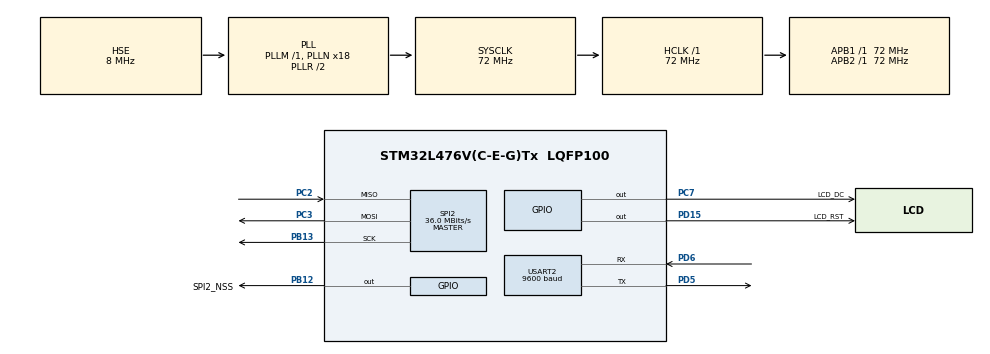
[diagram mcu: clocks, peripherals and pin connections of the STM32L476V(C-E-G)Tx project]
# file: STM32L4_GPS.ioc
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Mcu.Family=STM32L4
Mcu.Name=STM32L476V(C-E-G)Tx
Mcu.Package=LQFP100
NVIC.PriorityGroup=NVIC_PRIORITYGROUP_4
NVIC.USART2_IRQn=true\:0\:0\:false\:false\:true\:true\:true\:true
PB12.GPIO_Label=SPI2_NSS
PB12.GPIO_Speed=GPIO_SPEED_FREQ_VERY_HIGH
PB12.Signal=GPIO_Output
PB13.Mode=Full_Duplex_Master
PB13.Signal=SPI2_SCK
PC2.Mode=Full_Duplex_Master
PC2.Signal=SPI2_MISO
PC3.Mode=Full_Duplex_Master
PC3.Signal=SPI2_MOSI
PC7.GPIO_Label=LCD_DC
PC7.GPIO_Speed=GPIO_SPEED_FREQ_VERY_HIGH
PC7.Signal=GPIO_Output
PD15.GPIO_Label=LCD_RST
PD15.GPIO_Speed=GPIO_SPEED_FREQ_VERY_HIGH
PD15.Signal=GPIO_Output
PD5.Mode=Asynchronous
PD5.Signal=USART2_TX
PD6.Mode=Asynchronous
PD6.Signal=USART2_RX
PH0-OSC_IN\ (PH0).Mode=HSE-External-Oscillator
PH0-OSC_IN\ (PH0).Signal=RCC_OSC_IN
PH1-OSC_OUT\ (PH1).Mode=HSE-External-Oscillator
PH1-OSC_OUT\ (PH1).Signal=RCC_OSC_OUT
ProjectManager.HeapSize=0x200
ProjectManager.StackSize=0x400
ProjectManager.TargetToolchain=STM32CubeIDE
RCC.ADCFreq_Value=32000000
RCC.AHBFreq_Value=72000000
RCC.APB1Freq_Value=72000000
RCC.APB1TimFreq_Value=72000000
RCC.APB2Freq_Value=72000000
RCC.APB2TimFreq_Value=72000000
RCC.CortexFreq_Value=72000000
RCC.HCLKFreq_Value=72000000
RCC.HSE_VALUE=8000000
RCC.HSI_VALUE=16000000
RCC.LSE_VALUE=32768
RCC.MSI_VALUE=4000000
RCC.PLLN=18
RCC.PLLSourceVirtual=RCC_PLLSOURCE_HSE
RCC.SYSCLKFreq_VALUE=72000000
RCC.SYSCLKSource=RCC_SYSCLKSOURCE_PLLCLK
RCC.USBFreq_Value=32000000
RCC.VCOOutputFreq_Value=144000000
SPI2.BaudRatePrescaler=SPI_BAUDRATEPRESCALER_2
SPI2.CalculateBaudRate=36.0 MBits/s
SPI2.DataSize=SPI_DATASIZE_8BIT
SPI2.Direction=SPI_DIRECTION_2LINES
SPI2.Mode=SPI_MODE_MASTER
SPI2.NSSPMode=SPI_NSS_PULSE_DISABLE
SPI2.VirtualType=VM_MASTER
USART2.BaudRate=9600
USART2.Mode=MODE_TX_RX
USART2.VirtualMode-Asynchronous=VM_ASYNC
board=custom

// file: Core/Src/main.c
/* @file  main.c
   @brief main source file for STM32L4 integration with UBLox-Neo 6M GPS
          (ST25 Board TFT Display support included)
   @author Shyam Jha (Avinashee Tech)
*/
#include "main.h"

/* USER CODE BEGIN Includes */
#include <stdio.h>
#include "ringbuffer.h"
#include "gps.h"
#include "st25_discovery_lcd.h"
#include "avinasheetech_logo_jpg.h"
#include "gps_navigation_jpg.h"
#include "ili9341_cube.h"
#include "5x5_font.h"
/* USER CODE END Includes */

/* USER CODE BEGIN PM */

//TFT screen attributes
#define LCD_HEIGHT_Pixels 240
#define LCD_WIDTH_Pixels  320
#define DC_PORT								GPIOC
#define DC_PIN								GPIO_PIN_7
#define BURST_MAX_SIZE                      500

/* USER CODE END PM */

SPI_HandleTypeDef hspi2;

UART_HandleTypeDef huart2;

void SystemClock_Config(void);
static void MX_GPIO_Init(void);
static void MX_SPI2_Init(void);
static void MX_USART2_UART_Init(void);

/* USER CODE BEGIN 0 */

char GGA_Dataset[100];      //buffer to save GGA sentence data
char GSV_Dataset[100];      //buffer to save GSV sentence data
char lcd_gps_buffer1[30];
char lcd_gps_buffer2[30];
char lcd_gps_buffer3[30];
char lcd_gps_buffer4[30];
char lcd_gps_buffer5[30];

gps_t ublox_gps;            //main GPS data structure
uint8_t gps_fix_valid = 0;
uint8_t tot_sats_valid = 0;

unsigned char c;
void Uart_isr (UART_HandleTypeDef *huart);

/**
 * @brief  draw image function
 * @param  image_array image pixel wise RGB code
 * @param  orientation image rotation
 * @retval None
 */
void DrawImage(const uint8_t *image_array,uint8_t orientation){
	uint64_t k = 0;
   //Display Logo image
   for(uint32_t i = 0; i < 240; i++)                 //height
   {
	   for(uint32_t j = 320; j > 0; j--)             //width
	   {
		   BSP_LCD_DrawPixel(i, j, (image_array[k]<<8)|(image_array[k+1]),orientation);
		   k+=2;
	   }
   }
}

/* USER CODE END 0 */

int main(void)
{

  /* MCU Configuration--------------------------------------------------------*/

  /* Reset of all peripherals, Initializes the Flash interface and the Systick. */
  HAL_Init();

  /* Configure the system clock */
  SystemClock_Config();

  /* USER CODE BEGIN SysInit */

  /*Initialize LCD and clear with White Background*/
  BSP_LCD_Init( );
  BSP_LCD_SetFont( &Font22 );
  BSP_LCD_SetBackColor(LCD_COLOR_WHITE);
  BSP_LCD_SetTextColor(LCD_COLOR_RED);
  BSP_LCD_Clear(LCD_COLOR_WHITE);

  /*Text and Image Introduction*/
  BSP_LCD_DisplayPicture(0,0,namaste);   //namaste intro image
  HAL_Delay(2000);                       //some delay
  BSP_LCD_Clear(LCD_COLOR_WHITE);
  BSP_LCD_DisplayStringAtLine(4, (uint8_t*) "  Welcome back to  ");  //text display
  HAL_Delay(2000);                                                   //some delay
  BSP_LCD_DisplayPicture(0,0,avinashee_logo);  //channel logo image
  HAL_Delay(2000);                             //some delay
  BSP_LCD_Clear(LCD_COLOR_WHITE);
  BSP_LCD_DisplayStringAtLine(4, (uint8_t*) " Let's go watch our");
  BSP_LCD_DisplayStringAtLine(5, (uint8_t*) "      GNSS data     ");
  HAL_Delay(2000);
  BSP_LCD_DisplayPicture(0,0,gps_nav_frame1);  //gps satellite image frame 1
  HAL_Delay(4);                                //some delay
  BSP_LCD_DisplayPicture(0,0,gps_nav_frame2);  //gps satellite image frame 2
  HAL_Delay(1);                                //some delay
  BSP_LCD_DisplayPicture(0,0,gps_nav_frame3);  //gps satellite image frame 3
  HAL_Delay(1);                                //some delay
  BSP_LCD_Clear(LCD_COLOR_WHITE);

  /* USER CODE END SysInit */

  /* Initialize all configured peripherals */
  MX_GPIO_Init();
  MX_SPI2_Init();
  MX_USART2_UART_Init();
  /* USER CODE BEGIN 2 */

  /*initialize gps serial buffer*/
  buffer_init();

  /*enable the UART in Interrupt mode*/
  HAL_UART_Receive_IT(&huart2, &c, 1);
  HAL_Delay(1000);

  /* USER CODE END 2 */

  /* Infinite loop */
  while (1)
  {

    /* USER CODE BEGIN 3 */

	  //GGA message search
	  if(find_dataset(GGA)==1){
		  memset(GGA_Dataset,0,sizeof(GGA_Dataset));
		  save_dataset(GGA_Dataset);
		  gps_fix_valid = decode_ggadataset(GGA_Dataset, &ublox_gps);
	  }

	  ublox_gps.gsv.current_dataset = 0;
	  ublox_gps.gsv.total_datasets = 0;

	  //GSV message search (multiple messages handled)
	  do{
		  if(find_dataset(GSV)==1){
		  		  memset(GSV_Dataset,0,sizeof(GSV_Dataset));
		  		  save_dataset(GSV_Dataset);
		  		  tot_sats_valid = decode_gsvdataset(GSV_Dataset, &ublox_gps);
		  }

	  }while(ublox_gps.gsv.current_dataset<ublox_gps.gsv.total_datasets);

	  //display details of GGA message if gps fix valid
	  if(gps_fix_valid==1){
		  /*prepare lcd data buffers*/
		  memset(lcd_gps_buffer1,0,sizeof(lcd_gps_buffer1));
		  sprintf(lcd_gps_buffer1,"Lat:%f %c",ublox_gps.gga.location.latitude,ublox_gps.gga.location.NS);
		  memset(lcd_gps_buffer2,0,sizeof(lcd_gps_buffer2));
		  sprintf(lcd_gps_buffer2,"Lon:%f %c",ublox_gps.gga.location.longitude,ublox_gps.gga.location.EW);
		  memset(lcd_gps_buffer3,0,sizeof(lcd_gps_buffer3));
		  sprintf(lcd_gps_buffer3,"GPS Quality: %d",ublox_gps.gga.gps_fix_valid);
		  memset(lcd_gps_buffer4,0,sizeof(lcd_gps_buffer4));
		  sprintf(lcd_gps_buffer4,"Sat Count: %d",ublox_gps.gga.satellite_count);
		  memset(lcd_gps_buffer5,0,sizeof(lcd_gps_buffer5));
		  sprintf(lcd_gps_buffer5,"Time (IST): %02d:%02d:%02d",ublox_gps.gga.IST_time.hour,ublox_gps.gga.IST_time.minute,ublox_gps.gga.IST_time.second);
		  gps_fix_valid = 0;

		  /*display lcd data buffers*/
		  BSP_LCD_Clear(LCD_COLOR_WHITE);
		  BSP_LCD_DisplayStringAtLine(Line1, (uint8_t*)lcd_gps_buffer1); //display latitude
		  BSP_LCD_DisplayStringAtLine(Line2, (uint8_t*)lcd_gps_buffer2); //display longitude
		  BSP_LCD_DisplayStringAtLine(Line3, (uint8_t*)lcd_gps_buffer3); //display gps fix status
		  BSP_LCD_DisplayStringAtLine(Line4, (uint8_t*)lcd_gps_buffer4); //display number of satellites used for position calculation
		  BSP_LCD_DisplayStringAtLine(Line5, (uint8_t*)lcd_gps_buffer5); //display current time in IST format
	  }

	  HAL_Delay(5000); //some delay for GGA details to be present on screen

	  //display details of GSV message if satellites available
	  if(tot_sats_valid==1){
		  /*prepare lcd data buffer*/
		  memset(lcd_gps_buffer1,0,sizeof(lcd_gps_buffer1));
		  sprintf(lcd_gps_buffer1,"Total Sats: %d",ublox_gps.gsv.total_num_sats); //display total satellites tracked

		  /*display lcd data buffer*/
		  BSP_LCD_Clear(LCD_COLOR_WHITE);
		  BSP_LCD_DisplayStringAtLine(Line1, (uint8_t*)lcd_gps_buffer1);

		  /*prepare lcd data buffer*/
		  memset(lcd_gps_buffer2,0,sizeof(lcd_gps_buffer2));
		  sprintf(lcd_gps_buffer2,"Sat-Ele-Azi-Snr");  //display format for satellite details to be presented

		  /*display lcd data buffer*/
		  BSP_LCD_DisplayStringAtLine(Line2, (uint8_t*)lcd_gps_buffer2);

		  uint8_t line_index = 3;
		  for(int sat_index=0;sat_index<(ublox_gps.gsv.total_num_sats);sat_index++){
			  if(line_index==8){
				  line_index = 0;
				  HAL_Delay(3000); //some delay for first screen of satellite info
				  //clear screen once first 5 satellite info displayed
				  BSP_LCD_Clear(LCD_COLOR_WHITE);
			  }

			  if(sat_index<6){
				  memset(lcd_gps_buffer3,0,sizeof(lcd_gps_buffer3));
				  sprintf(lcd_gps_buffer3,"%d - %d - %d - %d",ublox_gps.gsv.sat_id[sat_index],ublox_gps.gsv.sat_elev[sat_index],ublox_gps.gsv.sat_azi[sat_index],ublox_gps.gsv.sat_snr[sat_index]);
				  //display details for that particular satellite on first screen
				  BSP_LCD_DisplayStringAtLine(line_index, (uint8_t*)lcd_gps_buffer3);
				  line_index++;
			  }
			  else{
				  memset(lcd_gps_buffer3,0,sizeof(lcd_gps_buffer3));
				  sprintf(lcd_gps_buffer3,"%d - %d - %d - %d",ublox_gps.gsv.sat_id[sat_index],ublox_gps.gsv.sat_elev[sat_index],ublox_gps.gsv.sat_azi[sat_index],ublox_gps.gsv.sat_snr[sat_index]);
				  //display details for further satellite on next screen after clearing
				  BSP_LCD_DisplayStringAtLine(line_index, (uint8_t*)lcd_gps_buffer3);
				  line_index++;
			  }

		  }
		  tot_sats_valid = 0;

	  }

	  HAL_Delay(3000); //some delay for next screen of satellite info

  }
  /* USER CODE END 3 */
}

void SystemClock_Config(void)
{
  RCC_OscInitTypeDef RCC_OscInitStruct = {0};
  RCC_ClkInitTypeDef RCC_ClkInitStruct = {0};

  /** Configure the main internal regulator output voltage
  */
  if (HAL_PWREx_ControlVoltageScaling(PWR_REGULATOR_VOLTAGE_SCALE1) != HAL_OK)
  {
    Error_Handler();
  }

  /** Initializes the RCC Oscillators according to the specified parameters
  * in the RCC_OscInitTypeDef structure.
  */
  RCC_OscInitStruct.OscillatorType = RCC_OSCILLATORTYPE_HSE;
  RCC_OscInitStruct.HSEState = RCC_HSE_ON;
  RCC_OscInitStruct.PLL.PLLState = RCC_PLL_ON;
  RCC_OscInitStruct.PLL.PLLSource = RCC_PLLSOURCE_HSE;
  RCC_OscInitStruct.PLL.PLLM = 1;
  RCC_OscInitStruct.PLL.PLLN = 18;
  RCC_OscInitStruct.PLL.PLLP = RCC_PLLP_DIV7;
  RCC_OscInitStruct.PLL.PLLQ = RCC_PLLQ_DIV2;
  RCC_OscInitStruct.PLL.PLLR = RCC_PLLR_DIV2;
  if (HAL_RCC_OscConfig(&RCC_OscInitStruct) != HAL_OK)
  {
    Error_Handler();
  }

  /** Initializes the CPU, AHB and APB buses clocks
  */
  RCC_ClkInitStruct.ClockType = RCC_CLOCKTYPE_HCLK|RCC_CLOCKTYPE_SYSCLK
                              |RCC_CLOCKTYPE_PCLK1|RCC_CLOCKTYPE_PCLK2;
  RCC_ClkInitStruct.SYSCLKSource = RCC_SYSCLKSOURCE_PLLCLK;
  RCC_ClkInitStruct.AHBCLKDivider = RCC_SYSCLK_DIV1;
  RCC_ClkInitStruct.APB1CLKDivider = RCC_HCLK_DIV1;
  RCC_ClkInitStruct.APB2CLKDivider = RCC_HCLK_DIV1;

  if (HAL_RCC_ClockConfig(&RCC_ClkInitStruct, FLASH_LATENCY_4) != HAL_OK)
  {
    Error_Handler();
  }
}

static void MX_SPI2_Init(void)
{

  /* SPI2 parameter configuration*/
  hspi2.Instance = SPI2;
  hspi2.Init.Mode = SPI_MODE_MASTER;
  hspi2.Init.Direction = SPI_DIRECTION_2LINES;
  hspi2.Init.DataSize = SPI_DATASIZE_8BIT;
  hspi2.Init.CLKPolarity = SPI_POLARITY_LOW;
  hspi2.Init.CLKPhase = SPI_PHASE_1EDGE;
  hspi2.Init.NSS = SPI_NSS_SOFT;
  hspi2.Init.BaudRatePrescaler = SPI_BAUDRATEPRESCALER_8;
  hspi2.Init.FirstBit = SPI_FIRSTBIT_MSB;
  hspi2.Init.TIMode = SPI_TIMODE_DISABLE;
  hspi2.Init.CRCCalculation = SPI_CRCCALCULATION_DISABLE;
  hspi2.Init.CRCPolynomial = 7;
  hspi2.Init.CRCLength = SPI_CRC_LENGTH_DATASIZE;
  hspi2.Init.NSSPMode = SPI_NSS_PULSE_DISABLE;
  if (HAL_SPI_Init(&hspi2) != HAL_OK)
  {
    Error_Handler();
  }

}

static void MX_USART2_UART_Init(void)
{

  huart2.Instance = USART2;
  huart2.Init.BaudRate = 9600;
  huart2.Init.WordLength = UART_WORDLENGTH_8B;
  huart2.Init.StopBits = UART_STOPBITS_1;
  huart2.Init.Parity = UART_PARITY_NONE;
  huart2.Init.Mode = UART_MODE_TX_RX;
  huart2.Init.HwFlowCtl = UART_HWCONTROL_NONE;
  huart2.Init.OverSampling = UART_OVERSAMPLING_16;
  huart2.Init.OneBitSampling = UART_ONE_BIT_SAMPLE_DISABLE;
  huart2.AdvancedInit.AdvFeatureInit = UART_ADVFEATURE_NO_INIT;
  if (HAL_UART_Init(&huart2) != HAL_OK)
  {
    Error_Handler();
  }

}

static void MX_GPIO_Init(void)
{
  GPIO_InitTypeDef GPIO_InitStruct = {0};

  /* GPIO Ports Clock Enable */
  __HAL_RCC_GPIOH_CLK_ENABLE();
  __HAL_RCC_GPIOC_CLK_ENABLE();
  __HAL_RCC_GPIOB_CLK_ENABLE();
  __HAL_RCC_GPIOD_CLK_ENABLE();

  /*Configure GPIO pin Output Level */
  HAL_GPIO_WritePin(SPI2_NSS_GPIO_Port, SPI2_NSS_Pin, GPIO_PIN_RESET);

  /*Configure GPIO pin Output Level */
  HAL_GPIO_WritePin(LCD_RST_GPIO_Port, LCD_RST_Pin, GPIO_PIN_RESET);

  /*Configure GPIO pin Output Level */
  HAL_GPIO_WritePin(LCD_DC_GPIO_Port, LCD_DC_Pin, GPIO_PIN_RESET);

  /*Configure GPIO pin : SPI2_NSS_Pin */
  GPIO_InitStruct.Pin = SPI2_NSS_Pin;
  GPIO_InitStruct.Mode = GPIO_MODE_OUTPUT_PP;
  GPIO_InitStruct.Pull = GPIO_NOPULL;
  GPIO_InitStruct.Speed = GPIO_SPEED_FREQ_VERY_HIGH;
  HAL_GPIO_Init(SPI2_NSS_GPIO_Port, &GPIO_InitStruct);

  /*Configure GPIO pin : LCD_RST_Pin */
  GPIO_InitStruct.Pin = LCD_RST_Pin;
  GPIO_InitStruct.Mode = GPIO_MODE_OUTPUT_PP;
  GPIO_InitStruct.Pull = GPIO_NOPULL;
  GPIO_InitStruct.Speed = GPIO_SPEED_FREQ_VERY_HIGH;
  HAL_GPIO_Init(LCD_RST_GPIO_Port, &GPIO_InitStruct);

  /*Configure GPIO pin : LCD_DC_Pin */
  GPIO_InitStruct.Pin = LCD_DC_Pin;
  GPIO_InitStruct.Mode = GPIO_MODE_OUTPUT_PP;
  GPIO_InitStruct.Pull = GPIO_NOPULL;
  GPIO_InitStruct.Speed = GPIO_SPEED_FREQ_VERY_HIGH;
  HAL_GPIO_Init(LCD_DC_GPIO_Port, &GPIO_InitStruct);

}

/* USER CODE BEGIN 4 */

/**
 * @brief  UART ISR
 * @param  huart pointer to UART handle structure
 * @retval None
 * @note   insert character into the ring buffer on UART receive
 *         complete interrupt
 */
void HAL_UART_RxCpltCallback(UART_HandleTypeDef *huart)
{
	buffer_insert(c);
	HAL_UART_Receive_IT(&huart2, &c, 1);
}

/**
 * @brief  customized implementation like strtok
 * @param  str pointer to character array
 * @param  delims delimiter seperating values in the character array
 * @retval seperated tokens
 * @note   customized strtok implementation to retain null values between delimiters.
 *         Example - "GGA,1,0,,,0" gives "GGA" "1" "0" "empty" "empty" "0"
 */
char * strtok_function (char * str, char const * delims)
{
  static char  * src = NULL;
  char  *  p,  * ret = 0;

  if (str != NULL)
    src = str;

  if (src == NULL)
    return NULL;

  if ((p = strpbrk (src, delims)) != NULL) {
    *p  = 0;    //replace delimiter with null character
    ret = src;  //get token
    src = ++p;  //increment past delimiter

  } else if (*src) {
    ret = src;  //get last token
    src = NULL;
  }

  return ret;
}

/* USER CODE END 4 */

void Error_Handler(void)
{
  __disable_irq();
  while (1)
  {
  }
}
